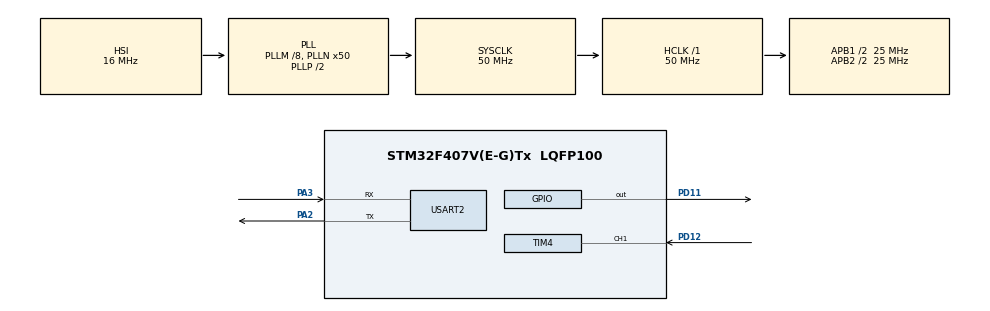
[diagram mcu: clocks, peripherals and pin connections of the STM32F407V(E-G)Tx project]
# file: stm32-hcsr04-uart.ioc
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Mcu.Family=STM32F4
Mcu.Name=STM32F407V(E-G)Tx
Mcu.Package=LQFP100
NVIC.PriorityGroup=NVIC_PRIORITYGROUP_0
PA2.Mode=Asynchronous
PA2.Signal=USART2_TX
PA3.Mode=Asynchronous
PA3.Signal=USART2_RX
PD11.Signal=GPIO_Output
PD12.Signal=S_TIM4_CH1
ProjectManager.HeapSize=0x200
ProjectManager.StackSize=0x400
ProjectManager.TargetToolchain=STM32CubeIDE
RCC.48MHZClocksFreq_Value=14285714.285714285
RCC.AHBFreq_Value=50000000
RCC.APB1CLKDivider=RCC_HCLK_DIV2
RCC.APB1Freq_Value=25000000
RCC.APB1TimFreq_Value=50000000
RCC.APB2CLKDivider=RCC_HCLK_DIV2
RCC.APB2Freq_Value=25000000
RCC.APB2TimFreq_Value=50000000
RCC.CortexFreq_Value=50000000
RCC.HCLKFreq_Value=50000000
RCC.HSE_VALUE=8000000
RCC.HSI_VALUE=16000000
RCC.PLLM=8
RCC.PLLN=50
RCC.PLLQ=7
RCC.SYSCLKFreq_VALUE=50000000
RCC.SYSCLKSource=RCC_SYSCLKSOURCE_PLLCLK
RCC.VCOOutputFreq_Value=100000000
SH.S_TIM4_CH1.0=TIM4_CH1,Input_Capture1_from_TI1
TIM4.Channel-Input_Capture1_from_TI1=TIM_CHANNEL_1
TIM4.Prescaler=84-1
USART2.VirtualMode=VM_ASYNC
board=STM32F407G-DISC1

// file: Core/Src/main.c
/* USER CODE BEGIN Header */
/**
  ******************************************************************************
  * @file           : main.c
  * @brief          : Main program body
  ******************************************************************************
  * @attention
  *
  * Copyright (c) 2025 STMicroelectronics.
  * All rights reserved.
  *
  * This software is licensed under terms that can be found in the LICENSE file
  * in the root directory of this software component.
  * If no LICENSE file comes with this software, it is provided AS-IS.
  *
  ******************************************************************************
  */
/* USER CODE END Header */
#include "main.h"
#include <stdio.h>
#include <string.h>

TIM_HandleTypeDef htim4;
UART_HandleTypeDef huart2;

/* USER CODE BEGIN PV */

/* Ultrasonic Variables */
uint16_t distance = 0;
uint32_t IC_Val1 = 0;
uint32_t IC_Val2 = 0;
uint32_t Difference = 0;
uint8_t Is_First_Captured = 0;

/* USER CODE END PV */

void SystemClock_Config(void);
static void MX_GPIO_Init(void);
static void MX_TIM4_Init(void);
static void MX_USART2_UART_Init(void);

/* USER CODE BEGIN 0 */

void Ultrasonic_Trigger(void)
{
	HAL_GPIO_WritePin(ULTRASONIC_TRIGGER_PORT, ULTRASONIC_TRIGGER_PIN, GPIO_PIN_SET);
	HAL_Delay(1);
	HAL_GPIO_WritePin(ULTRASONIC_TRIGGER_PORT, ULTRASONIC_TRIGGER_PIN, GPIO_PIN_RESET);
}

void HAL_TIM_IC_CaptureCallback(TIM_HandleTypeDef *htim)
{
	if (htim->Instance == TIM4 && htim->Channel == HAL_TIM_ACTIVE_CHANNEL_1)
	{
		if(Is_First_Captured == 0)
		{
			IC_Val1 = HAL_TIM_ReadCapturedValue(&htim4, TIM_CHANNEL_1);
			Is_First_Captured = 1;

			// Change polarity to falling edge
			__HAL_TIM_SET_CAPTUREPOLARITY(&htim4, TIM_CHANNEL_1, TIM_INPUTCHANNELPOLARITY_FALLING);
		}
		else
		{
			IC_Val2 = HAL_TIM_ReadCapturedValue(&htim4, TIM_CHANNEL_1);

			if (IC_Val2 > IC_Val1)
				Difference = IC_Val2 - IC_Val1;
			else
				Difference = (0xFFFF - IC_Val1 + IC_Val2);

			distance = Difference * 0.0173;	// convert to cm

			// Reset for next reading
			Is_First_Captured = 0;
			__HAL_TIM_SET_CAPTUREPOLARITY(&htim4, TIM_CHANNEL_1, TIM_INPUTCHANNELPOLARITY_RISING);
		}
	}
}

/* USER CODE END 0 */

int main(void)
{

  /* MCU Configuration--------------------------------------------------------*/

  /* Reset of all peripherals, Initializes the Flash interface and the Systick. */
  HAL_Init();

  /* Configure the system clock */
  SystemClock_Config();

  /* Initialize all configured peripherals */
  MX_GPIO_Init();
  MX_TIM4_Init();
  MX_USART2_UART_Init();
  /* USER CODE BEGIN 2 */

  HAL_TIM_IC_Start_IT(&htim4, TIM_CHANNEL_1); // Enable Echo capture interrupt

  char uart_msg[50];

  /* USER CODE END 2 */

  /* Infinite loop */
  while (1)
  {
	  Ultrasonic_Trigger();
	  HAL_Delay(100);

	  sprintf(uart_msg, "Distance = %d cm\r\n", distance);
      HAL_UART_Transmit(&huart2, (uint8_t*)uart_msg, strlen(uart_msg), HAL_MAX_DELAY);
  }
}

void SystemClock_Config(void)
{
  RCC_OscInitTypeDef RCC_OscInitStruct = {0};
  RCC_ClkInitTypeDef RCC_ClkInitStruct = {0};

  /** Configure the main internal regulator output voltage
  */
  __HAL_RCC_PWR_CLK_ENABLE();
  __HAL_PWR_VOLTAGESCALING_CONFIG(PWR_REGULATOR_VOLTAGE_SCALE1);

  /** Initializes the RCC Oscillators according to the specified parameters
  * in the RCC_OscInitTypeDef structure.
  */
  RCC_OscInitStruct.OscillatorType = RCC_OSCILLATORTYPE_HSI;
  RCC_OscInitStruct.HSIState = RCC_HSI_ON;
  RCC_OscInitStruct.HSICalibrationValue = RCC_HSICALIBRATION_DEFAULT;
  RCC_OscInitStruct.PLL.PLLState = RCC_PLL_ON;
  RCC_OscInitStruct.PLL.PLLSource = RCC_PLLSOURCE_HSI;
  RCC_OscInitStruct.PLL.PLLM = 8;
  RCC_OscInitStruct.PLL.PLLN = 50;
  RCC_OscInitStruct.PLL.PLLP = RCC_PLLP_DIV2;
  RCC_OscInitStruct.PLL.PLLQ = 7;
  if (HAL_RCC_OscConfig(&RCC_OscInitStruct) != HAL_OK)
  {
    Error_Handler();
  }

  /** Initializes the CPU, AHB and APB buses clocks
  */
  RCC_ClkInitStruct.ClockType = RCC_CLOCKTYPE_HCLK|RCC_CLOCKTYPE_SYSCLK
                              |RCC_CLOCKTYPE_PCLK1|RCC_CLOCKTYPE_PCLK2;
  RCC_ClkInitStruct.SYSCLKSource = RCC_SYSCLKSOURCE_PLLCLK;
  RCC_ClkInitStruct.AHBCLKDivider = RCC_SYSCLK_DIV1;
  RCC_ClkInitStruct.APB1CLKDivider = RCC_HCLK_DIV2;
  RCC_ClkInitStruct.APB2CLKDivider = RCC_HCLK_DIV2;

  if (HAL_RCC_ClockConfig(&RCC_ClkInitStruct, FLASH_LATENCY_1) != HAL_OK)
  {
    Error_Handler();
  }
}

static void MX_TIM4_Init(void)
{

  TIM_MasterConfigTypeDef sMasterConfig = {0};
  TIM_IC_InitTypeDef sConfigIC = {0};

  htim4.Instance = TIM4;
  htim4.Init.Prescaler = 84-1;
  htim4.Init.CounterMode = TIM_COUNTERMODE_UP;
  htim4.Init.Period = 65535;
  htim4.Init.ClockDivision = TIM_CLOCKDIVISION_DIV1;
  htim4.Init.AutoReloadPreload = TIM_AUTORELOAD_PRELOAD_DISABLE;
  if (HAL_TIM_IC_Init(&htim4) != HAL_OK)
  {
    Error_Handler();
  }
  sMasterConfig.MasterOutputTrigger = TIM_TRGO_RESET;
  sMasterConfig.MasterSlaveMode = TIM_MASTERSLAVEMODE_DISABLE;
  if (HAL_TIMEx_MasterConfigSynchronization(&htim4, &sMasterConfig) != HAL_OK)
  {
    Error_Handler();
  }
  sConfigIC.ICPolarity = TIM_INPUTCHANNELPOLARITY_RISING;
  sConfigIC.ICSelection = TIM_ICSELECTION_DIRECTTI;
  sConfigIC.ICPrescaler = TIM_ICPSC_DIV1;
  sConfigIC.ICFilter = 0;
  if (HAL_TIM_IC_ConfigChannel(&htim4, &sConfigIC, TIM_CHANNEL_1) != HAL_OK)
  {
    Error_Handler();
  }

}

static void MX_USART2_UART_Init(void)
{

  huart2.Instance = USART2;
  huart2.Init.BaudRate = 9600;
  huart2.Init.WordLength = UART_WORDLENGTH_8B;
  huart2.Init.StopBits = UART_STOPBITS_1;
  huart2.Init.Parity = UART_PARITY_NONE;
  huart2.Init.Mode = UART_MODE_TX_RX;
  huart2.Init.HwFlowCtl = UART_HWCONTROL_NONE;
  huart2.Init.OverSampling = UART_OVERSAMPLING_16;
  if (HAL_UART_Init(&huart2) != HAL_OK)
  {
    Error_Handler();
  }

}

static void MX_GPIO_Init(void)
{
  GPIO_InitTypeDef GPIO_InitStruct = {0};

  /* GPIO Ports Clock Enable */
  __HAL_RCC_GPIOA_CLK_ENABLE();
  __HAL_RCC_GPIOD_CLK_ENABLE();

  /*Configure GPIO pin Output Level */
  HAL_GPIO_WritePin(GPIOD, GPIO_PIN_11, GPIO_PIN_RESET);

  /*Configure GPIO pin : PD11 */
  GPIO_InitStruct.Pin = GPIO_PIN_11;
  GPIO_InitStruct.Mode = GPIO_MODE_OUTPUT_PP;
  GPIO_InitStruct.Pull = GPIO_NOPULL;
  GPIO_InitStruct.Speed = GPIO_SPEED_FREQ_LOW;
  HAL_GPIO_Init(GPIOD, &GPIO_InitStruct);

}

void Error_Handler(void)
{
  __disable_irq();
  while (1)
  {
  }
}
